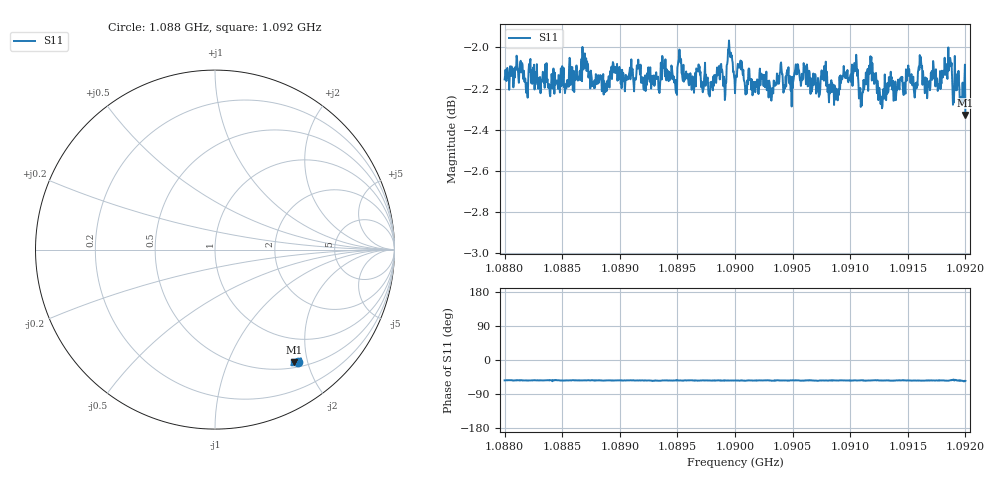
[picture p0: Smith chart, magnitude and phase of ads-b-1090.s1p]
! Calibrated averaged scanner-service zoom
# Hz S RI R 50
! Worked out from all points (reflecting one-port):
!   1001 points, 1.088 GHz to 1.092 GHz, reference 50 ohm
!   lowest |S11| = -2.3 dB at 1.092 GHz (marker M1), VSWR 7.51, Z = 29.3 - j88.6 ohm
!   phase of S11 starts at -54 deg and turns -1 deg over the sweep
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1.088e9  0.4617 -0.6289
1.088444e9  0.4719 -0.6198
1.0885e9  0.4591 -0.638
1.089e9  0.464 -0.631
1.08934e9  0.452 -0.6308
1.089388e9  0.463 -0.6333
1.0895e9  0.4659 -0.6323
1.089788e9  0.4591 -0.6295
1.089952e9  0.4632 -0.6442
1.09e9  0.4542 -0.627
1.090268e9  0.4611 -0.627
1.090324e9  0.4502 -0.6325
1.09038e9  0.4575 -0.6297
1.0905e9  0.4622 -0.6238
1.09064e9  0.468 -0.6277
1.090716e9  0.4454 -0.6342
1.090872e9  0.4594 -0.6232
1.091e9  0.4595 -0.6306
1.091096e9  0.4601 -0.6206
1.091164e9  0.4623 -0.6359
1.09122e9  0.4696 -0.6244
1.09126e9  0.454 -0.6249
1.0915e9  0.4623 -0.6326
1.091612e9  0.4584 -0.6436
1.09178e9  0.4637 -0.632
1.09184e9  0.4519 -0.6388
1.091896e9  0.4798 -0.6065
1.092e9  0.4388 -0.6265
